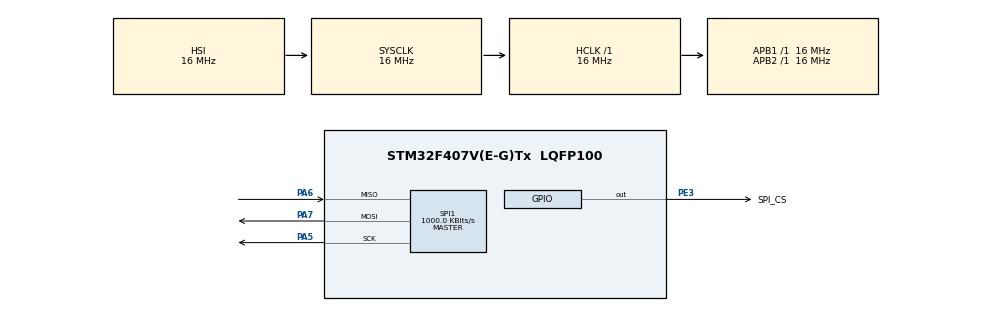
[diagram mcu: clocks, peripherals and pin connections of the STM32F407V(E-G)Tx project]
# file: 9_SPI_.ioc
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Mcu.Family=STM32F4
Mcu.Name=STM32F407V(E-G)Tx
Mcu.Package=LQFP100
NVIC.PriorityGroup=NVIC_PRIORITYGROUP_4
PA5.Mode=Full_Duplex_Master
PA5.Signal=SPI1_SCK
PA6.Mode=Full_Duplex_Master
PA6.Signal=SPI1_MISO
PA7.Mode=Full_Duplex_Master
PA7.Signal=SPI1_MOSI
PE3.GPIO_Label=SPI_CS
PE3.PinState=GPIO_PIN_SET
PE3.Signal=GPIO_Output
ProjectManager.HeapSize=0x200
ProjectManager.StackSize=0x400
ProjectManager.TargetToolchain=STM32CubeIDE
RCC.AHBFreq_Value=16000000
RCC.APB1Freq_Value=16000000
RCC.APB2Freq_Value=16000000
RCC.CortexFreq_Value=16000000
RCC.HSE_VALUE=25000000
RCC.HSI_VALUE=16000000
RCC.LSE_VALUE=32768
RCC.SYSCLKFreq_VALUE=16000000
RCC.VCOOutputFreq_Value=192000000
SPI1.BaudRatePrescaler=SPI_BAUDRATEPRESCALER_16
SPI1.CalculateBaudRate=1000.0 KBits/s
SPI1.Direction=SPI_DIRECTION_2LINES
SPI1.Mode=SPI_MODE_MASTER
SPI1.VirtualType=VM_MASTER
board=custom

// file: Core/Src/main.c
/* USER CODE BEGIN Header */
/**
  ******************************************************************************
  * @file           : main.c
  * @brief          : Main program body
  ******************************************************************************
  * @attention
  *
  * Copyright (c) 2026 STMicroelectronics.
  * All rights reserved.
  *
  * This software is licensed under terms that can be found in the LICENSE file
  * in the root directory of this software component.
  * If no LICENSE file comes with this software, it is provided AS-IS.
  *
  ******************************************************************************
  */
/* USER CODE END Header */
#include "main.h"

SPI_HandleTypeDef hspi1;

/* USER CODE BEGIN PV */
uint16_t X_Axis, Y_Axis, Z_Axis;
uint8_t X_Low, X_High, Y_Low, Y_High, Z_Low, Z_High;
/* USER CODE END PV */

void SystemClock_Config(void);
static void MX_GPIO_Init(void);
static void MX_SPI1_Init(void);

/* USER CODE BEGIN 0 */
void SPI_Write_MEMS (uint8_t address, uint8_t data)
{
	uint8_t txData[2] = {0};
	txData[0] = address;
	txData[1] = data;

	HAL_GPIO_WritePin(SPI_CS_GPIO_Port, SPI_CS_Pin, GPIO_PIN_RESET);
	HAL_SPI_Transmit(&hspi1, txData, 2, 1000);
	HAL_GPIO_WritePin(SPI_CS_GPIO_Port, SPI_CS_Pin, GPIO_PIN_SET);

}
uint8_t SPI_Read_MEMS(uint8_t address)
{
	uint8_t txData[1] = {0} , rxData[1] = {0};
	txData[0] = address | 0x80;                  //bu bir talimat, MSB HIGH yapılıyor.

	// 1 - CS pinini LOW yap
	HAL_GPIO_WritePin(SPI_CS_GPIO_Port, SPI_CS_Pin, GPIO_PIN_RESET);

	// 2 - okunacak verinin adresini gönder
	HAL_SPI_Transmit(&hspi1, txData, 1, 1000);

	// 3 - istenilen veriyi al
	HAL_SPI_Receive(&hspi1, rxData, 1, 1000);

	// 4 - CS pinini HIGH yap
	HAL_GPIO_WritePin(SPI_CS_GPIO_Port, SPI_CS_Pin, GPIO_PIN_SET);

	return rxData[0];
}
/* USER CODE END 0 */

int main(void)
{

  /* MCU Configuration--------------------------------------------------------*/

  /* Reset of all peripherals, Initializes the Flash interface and the Systick. */
  HAL_Init();

  /* Configure the system clock */
  SystemClock_Config();

  /* Initialize all configured peripherals */
  MX_GPIO_Init();
  MX_SPI1_Init();
  /* USER CODE BEGIN 2 */
  uint8_t ctrlReg4;
  SPI_Write_MEMS(0x20, 0x57);       // 0x20 control register 4 datasheet de var.
  ctrlReg4 = SPI_Read_MEMS(0x20);
  /* USER CODE END 2 */

  /* Infinite loop */
  while (1)
  {

    /* USER CODE BEGIN 3 */

	// 0x28, 0x29, 0x2A, 0x2B, 0x2C, 0x2D  adresleri datasheet'de bulunan adres değerleridir. Gelişi güzel değildir.

	X_Low = SPI_Read_MEMS(0x28);
	X_High = SPI_Read_MEMS(0x29);
	X_Axis = (X_High << 8 ) | X_Low;       // 8 birim sola ötele ve x_low'u ekle

	Y_Low = SPI_Read_MEMS(0x2A);
	Y_High = SPI_Read_MEMS(0x2B);
	Y_Axis = (Y_High << 8 ) | Y_Low;

	Z_Low = SPI_Read_MEMS(0x2C);
	Z_High = SPI_Read_MEMS(0x2D);
	Z_Axis = (Z_High << 8 ) | Z_Low;

	HAL_Delay(5000);						// yani kartı 3D hareket ettirince X_Axis, Y_Axis ve Z_Axis değerlerinin
											// değiştiği görülür.
  }
  /* USER CODE END 3 */
}

void SystemClock_Config(void)
{
  RCC_OscInitTypeDef RCC_OscInitStruct = {0};
  RCC_ClkInitTypeDef RCC_ClkInitStruct = {0};

  /** Configure the main internal regulator output voltage
  */
  __HAL_RCC_PWR_CLK_ENABLE();
  __HAL_PWR_VOLTAGESCALING_CONFIG(PWR_REGULATOR_VOLTAGE_SCALE1);

  /** Initializes the RCC Oscillators according to the specified parameters
  * in the RCC_OscInitTypeDef structure.
  */
  RCC_OscInitStruct.OscillatorType = RCC_OSCILLATORTYPE_HSI;
  RCC_OscInitStruct.HSIState = RCC_HSI_ON;
  RCC_OscInitStruct.HSICalibrationValue = RCC_HSICALIBRATION_DEFAULT;
  RCC_OscInitStruct.PLL.PLLState = RCC_PLL_NONE;
  if (HAL_RCC_OscConfig(&RCC_OscInitStruct) != HAL_OK)
  {
    Error_Handler();
  }

  /** Initializes the CPU, AHB and APB buses clocks
  */
  RCC_ClkInitStruct.ClockType = RCC_CLOCKTYPE_HCLK|RCC_CLOCKTYPE_SYSCLK
                              |RCC_CLOCKTYPE_PCLK1|RCC_CLOCKTYPE_PCLK2;
  RCC_ClkInitStruct.SYSCLKSource = RCC_SYSCLKSOURCE_HSI;
  RCC_ClkInitStruct.AHBCLKDivider = RCC_SYSCLK_DIV1;
  RCC_ClkInitStruct.APB1CLKDivider = RCC_HCLK_DIV1;
  RCC_ClkInitStruct.APB2CLKDivider = RCC_HCLK_DIV1;

  if (HAL_RCC_ClockConfig(&RCC_ClkInitStruct, FLASH_LATENCY_0) != HAL_OK)
  {
    Error_Handler();
  }
}

static void MX_SPI1_Init(void)
{

  /* SPI1 parameter configuration*/
  hspi1.Instance = SPI1;
  hspi1.Init.Mode = SPI_MODE_MASTER;
  hspi1.Init.Direction = SPI_DIRECTION_2LINES;
  hspi1.Init.DataSize = SPI_DATASIZE_8BIT;
  hspi1.Init.CLKPolarity = SPI_POLARITY_LOW;
  hspi1.Init.CLKPhase = SPI_PHASE_1EDGE;
  hspi1.Init.NSS = SPI_NSS_SOFT;
  hspi1.Init.BaudRatePrescaler = SPI_BAUDRATEPRESCALER_16;
  hspi1.Init.FirstBit = SPI_FIRSTBIT_MSB;
  hspi1.Init.TIMode = SPI_TIMODE_DISABLE;
  hspi1.Init.CRCCalculation = SPI_CRCCALCULATION_DISABLE;
  hspi1.Init.CRCPolynomial = 10;
  if (HAL_SPI_Init(&hspi1) != HAL_OK)
  {
    Error_Handler();
  }

}

static void MX_GPIO_Init(void)
{
  GPIO_InitTypeDef GPIO_InitStruct = {0};

  /* GPIO Ports Clock Enable */
  __HAL_RCC_GPIOE_CLK_ENABLE();
  __HAL_RCC_GPIOA_CLK_ENABLE();

  /*Configure GPIO pin Output Level */
  HAL_GPIO_WritePin(SPI_CS_GPIO_Port, SPI_CS_Pin, GPIO_PIN_SET);

  /*Configure GPIO pin : SPI_CS_Pin */
  GPIO_InitStruct.Pin = SPI_CS_Pin;
  GPIO_InitStruct.Mode = GPIO_MODE_OUTPUT_PP;
  GPIO_InitStruct.Pull = GPIO_NOPULL;
  GPIO_InitStruct.Speed = GPIO_SPEED_FREQ_LOW;
  HAL_GPIO_Init(SPI_CS_GPIO_Port, &GPIO_InitStruct);

}

void Error_Handler(void)
{
  __disable_irq();
  while (1)
  {
  }
}
